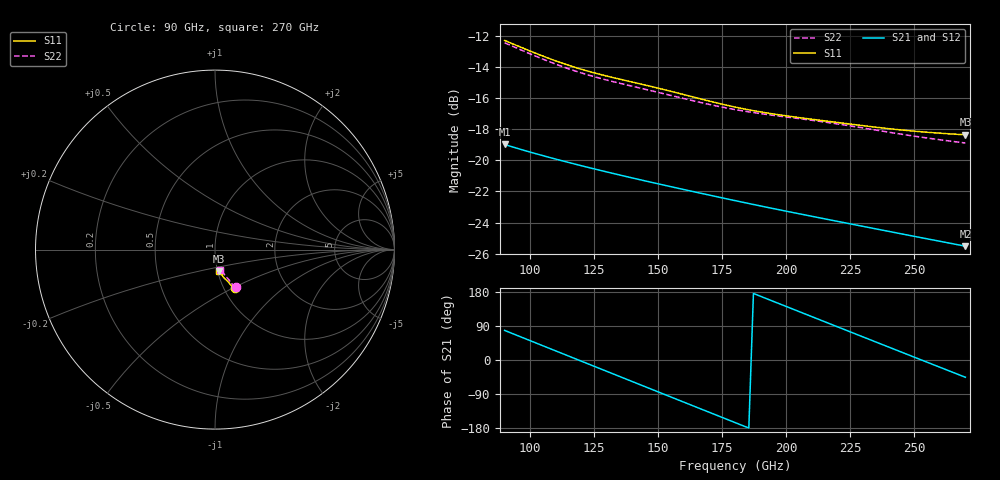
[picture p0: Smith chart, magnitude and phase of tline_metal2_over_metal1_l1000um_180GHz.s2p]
#  GHZ S DB R 50
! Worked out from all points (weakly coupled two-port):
!   101 points, 90 GHz to 270 GHz, reference 50 ohm
!   highest |S21| = -18.97 dB at 90 GHz (marker M1); lowest = -25.5 dB at 270 GHz (marker M2)
!   lowest |S11| = -18.3 dB at 270 GHz (marker M3), VSWR 1.28, Z = 50.7 - j12.2 ohm
!   |S11| at or under -10 dB: start of sweep to end of sweep
!   |S22| runs from -18.9 to -12.4 dB; largest |S21 - S12| = 1.2e-13
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90  -12.27 -62.8  -18.97 78.1  -18.97 78.1  -12.42 -61.1
99  -12.88 -64.8  -19.42 53.7  -19.42 53.7  -13.06 -62.9
106.2  -13.35 -66.0  -19.75 34.2  -19.75 34.2  -13.55 -63.9
113.4  -13.78 -66.9  -20.06 14.8  -20.06 14.8  -14.00 -64.5
120.6  -14.15 -67.7  -20.36 -4.7  -20.36 -4.7  -14.39 -65.0
127.8  -14.48 -68.4  -20.66 -24.2  -20.66 -24.2  -14.73 -65.5
136.8  -14.83 -69.5  -21.01 -48.5  -21.01 -48.5  -15.10 -66.2
144  -15.11 -70.5  -21.28 -68.0  -21.28 -68.0  -15.38 -66.9
151.2  -15.39 -71.6  -21.55 -87.4  -21.55 -87.4  -15.66 -67.7
158.4  -15.69 -72.6  -21.81 -106.9  -21.81 -106.9  -15.95 -68.3
167.4  -16.07 -73.6  -22.14 -131.1  -22.14 -131.1  -16.30 -69.0
180  -16.56 -74.5  -22.59 -165.0  -22.59 -165.0  -16.72 -69.6
187.2  -16.79 -74.8  -22.84 175.6  -22.84 175.6  -16.92 -69.9
194.4  -16.99 -75.1  -23.08 156.3  -23.08 156.3  -17.08 -70.3
203.4  -17.20 -75.5  -23.38 132.2  -23.38 132.2  -17.27 -71.1
210.6  -17.36 -76.0  -23.62 112.9  -23.62 112.9  -17.43 -71.9
217.8  -17.51 -76.5  -23.85 93.6  -23.85 93.6  -17.59 -72.7
225  -17.66 -77.0  -24.08 74.3  -24.08 74.3  -17.77 -73.5
241.2  -17.97 -78.0  -24.61 31.0  -24.61 31.0  -18.21 -75.1
248.4  -18.09 -78.4  -24.84 11.9  -24.84 11.9  -18.39 -75.7
255.6  -18.19 -78.8  -25.07 -7.3  -25.07 -7.3  -18.57 -76.2
270  -18.35 -79.7  -25.52 -45.6  -25.52 -45.6  -18.88 -77.1
